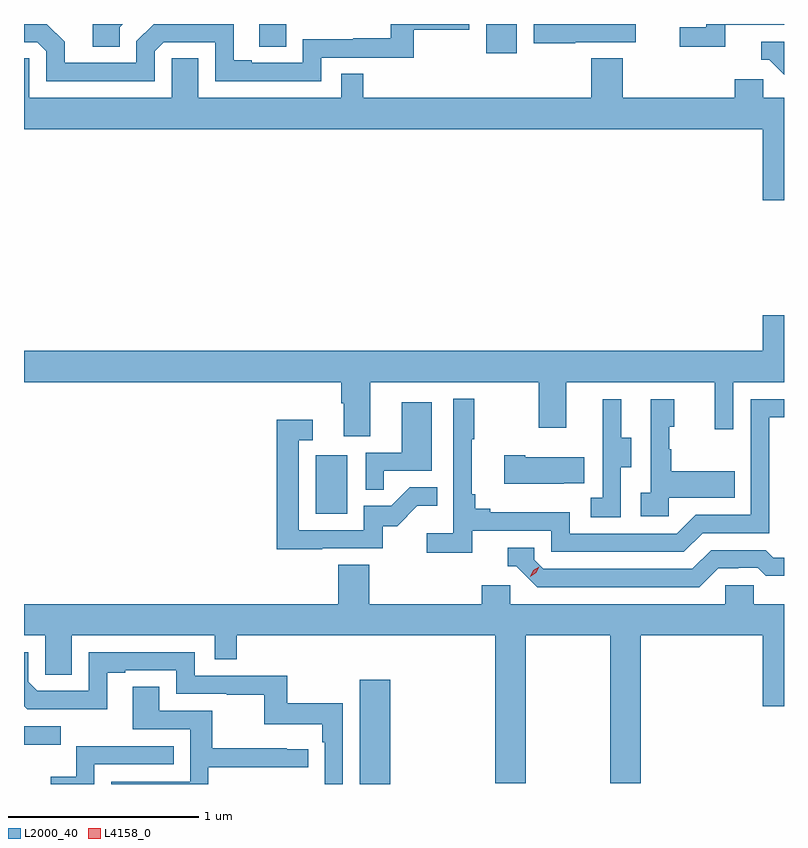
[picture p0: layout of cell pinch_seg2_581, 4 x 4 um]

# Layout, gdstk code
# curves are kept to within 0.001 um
import gdstk
lib = gdstk.Library(unit=1e-6, precision=1e-09)
def R(c, l, rs):  # rectangles x0, y0, x1, y1
    for r in rs: c.add(gdstk.rectangle(r[:2], r[2:], *l))
def P(c, l, *ps):  # polygons
    for p in ps: c.add(gdstk.Polygon(p, *l))
L2000_40 = (2000, 40)
L4158_0 = (4158, 0)

pinch_seg2_581 = lib.new_cell('pinch_seg2_581')
R(pinch_seg2_581, L2000_40, [(1061.987,612.221,1062.148,612.769), (1060.22,612.428,1060.414,612.525), (1061.756,613.644,1061.92,613.951), (1062.653,616.068,1062.814,616.221), (1061.459,616.102,1061.599,616.221)])
P(pinch_seg2_581, L2000_40, [(1063.91,616.218),(1064.22,616.218),(1064.22,616.221),(1063.812,616.221),(1063.812,616.204),(1063.671,616.204),(1063.671,616.102),(1063.91,616.102)],
  [(1063.121,616.125),(1063.44,616.125),(1063.44,616.221),(1062.903,616.221),(1062.903,616.12),(1063.121,616.12)],
  [(1060.908,616.077),(1060.956,616.125),(1061.226,616.125),(1061.226,615.921),(1061.784,615.921),(1061.784,616.044),(1062.271,616.044),(1062.271,616.191),(1062.564,616.191),(1062.564,616.221),(1062.15,616.221),(1062.15,616.145),(1061.953,616.145),(1061.953,616.14),(1061.688,616.14),(1061.688,616.017),(1061.419,616.017),(1061.419,616.03),(1061.323,616.03),(1061.323,616.221),(1060.902,616.221),(1060.812,616.131),(1060.812,616.017),(1060.435,616.017),(1060.435,616.127),(1060.341,616.221),(1060.22,616.221),(1060.22,616.125),(1060.29,616.125),(1060.338,616.077),(1060.338,615.921),(1060.908,615.921)],
  [(1060.723,616.204),(1060.74,616.221),(1060.583,616.221),(1060.583,616.102),(1060.723,616.102)],
  [(1064.22,616.128),(1064.099,616.128),(1064.099,616.032),(1064.142,616.032),(1064.22,615.954)],
  [(1064.22,615.832),(1064.112,615.832),(1064.112,615.93),(1063.961,615.93),(1063.961,615.832),(1063.37,615.832),(1063.37,616.04),(1063.205,616.04),(1063.205,615.832),(1062.005,615.832),(1062.005,615.959),(1061.889,615.959),(1061.889,615.832),(1061.137,615.832),(1061.137,616.04),(1060.998,616.04),(1060.998,615.832),(1060.248,615.832),(1060.248,616.04),(1060.22,616.04),(1060.22,615.668),(1064.108,615.668),(1064.108,615.294),(1064.22,615.294)],
  [(1062.043,614.336),(1062.928,614.336),(1062.928,614.097),(1063.075,614.097),(1063.075,614.336),(1063.856,614.336),(1063.856,614.088),(1063.953,614.088),(1063.953,614.336),(1064.22,614.336),(1064.22,614.689),(1064.108,614.689),(1064.108,614.5),(1060.22,614.5),(1060.22,614.336),(1061.891,614.336),(1061.891,614.224),(1061.903,614.224),(1061.903,614.05),(1062.043,614.05)],
  [(1062.578,613.554),(1062.996,613.554),(1062.996,613.443),(1063.693,613.443),(1063.792,613.542),(1064.142,613.542),(1064.142,614.151),(1064.22,614.151),(1064.22,614.247),(1064.046,614.247),(1064.046,613.638),(1063.755,613.638),(1063.656,613.539),(1063.092,613.539),(1063.092,613.651),(1062.673,613.651),(1062.673,613.67),(1062.596,613.67),(1062.596,613.747),(1062.577,613.747),(1062.577,614.035),(1062.589,614.035),(1062.589,614.248),(1062.48,614.248),(1062.48,613.54),(1062.339,613.54),(1062.339,613.438),(1062.578,613.438)],
  [(1063.614,613.727),(1063.961,613.727),(1063.961,613.867),(1063.627,613.867),(1063.627,613.982),(1063.617,613.982),(1063.617,614.1),(1063.642,614.1),(1063.642,614.245),(1063.518,614.245),(1063.518,613.754),(1063.467,613.754),(1063.467,613.629),(1063.614,613.629)],
  [(1063.362,613.888),(1063.417,613.888),(1063.417,614.043),(1063.363,614.043),(1063.363,614.245),(1063.265,614.245),(1063.265,614.031),(1063.266,614.031),(1063.266,613.727),(1063.203,613.727),(1063.203,613.624),(1063.362,613.624)],
  [(1062.113,613.869),(1062.367,613.869),(1062.367,614.23),(1062.209,614.23),(1062.209,613.965),(1062.018,613.965),(1062.018,613.771),(1062.113,613.771)],
  [(1061.789,613.461),(1062.108,613.461),(1062.108,613.578),(1062.184,613.578),(1062.291,613.685),(1062.395,613.685),(1062.395,613.784),(1062.251,613.784),(1062.153,613.686),(1062.009,613.686),(1062.009,613.557),(1061.667,613.557),(1061.667,614.031),(1061.74,614.031),(1061.74,614.137),(1061.551,614.137),(1061.551,613.456),(1061.789,613.456)],
  [(1063.061,613.805),(1063.169,613.805),(1063.169,613.942),(1062.859,613.942),(1062.859,613.95),(1062.747,613.95),(1062.747,613.802),(1063.061,613.802)],
  [(1063.873,613.356),(1063.98,613.356),(1063.98,613.359),(1064.083,613.359),(1064.125,613.317),(1064.22,613.317),(1064.22,613.413),(1064.164,613.413),(1064.125,613.452),(1063.836,613.452),(1063.737,613.353),(1062.954,613.353),(1062.906,613.401),(1062.906,613.464),(1062.767,613.464),(1062.767,613.368),(1062.81,613.368),(1062.921,613.257),(1063.774,613.257)],
  [(1062.78,613.266),(1062.629,613.266),(1062.629,613.168),(1062.038,613.168),(1062.038,613.376),(1061.873,613.376),(1061.873,613.168),(1060.22,613.168),(1060.22,613.004),(1060.332,613.004),(1060.332,612.796),(1060.471,612.796),(1060.471,613.004),(1061.223,613.004),(1061.223,612.877),(1061.339,612.877),(1061.339,613.004),(1062.701,613.004),(1062.701,612.225),(1062.861,612.225),(1062.861,613.004),(1063.306,613.004),(1063.306,612.225),(1063.466,612.225),(1063.466,613.004),(1064.108,613.004),(1064.108,612.63),(1064.22,612.63),(1064.22,613.168),(1064.061,613.168),(1064.061,613.266),(1063.911,613.266),(1063.911,613.168),(1062.78,613.168)],
  [(1061.898,612.646),(1061.605,612.646),(1061.605,612.792),(1061.118,612.792),(1061.118,612.915),(1060.56,612.915),(1060.56,612.711),(1060.29,612.711),(1060.242,612.759),(1060.242,612.915),(1060.22,612.915),(1060.22,612.631),(1060.236,612.615),(1060.657,612.614),(1060.657,612.807),(1060.753,612.807),(1060.753,612.819),(1061.022,612.819),(1061.022,612.696),(1061.287,612.696),(1061.287,612.691),(1061.484,612.691),(1061.484,612.536),(1061.789,612.536),(1061.789,612.44),(1061.802,612.44),(1061.802,612.221),(1061.898,612.221)],
  [(1061.19,612.309),(1061.716,612.309),(1061.716,612.405),(1061.603,612.405),(1061.603,612.41),(1061.21,612.41),(1061.21,612.606),(1060.933,612.606),(1060.933,612.734),(1060.793,612.734),(1060.793,612.51),(1061.094,612.51),(1061.094,612.234),(1060.678,612.234),(1060.678,612.221),(1061.19,612.221)],
  [(1060.59,612.324),(1061.009,612.324),(1061.009,612.42),(1060.494,612.42),(1060.494,612.259),(1060.361,612.259),(1060.361,612.221),(1060.59,612.221)])
P(pinch_seg2_581, L4158_0, [(1062.884,613.313),(1062.884,613.314),(1062.901,613.346),(1062.931,613.365),(1062.932,613.365),(1062.932,613.365),(1062.915,613.333),(1062.885,613.313)])

lib.write_gds('pinch_seg2_581.gds')
